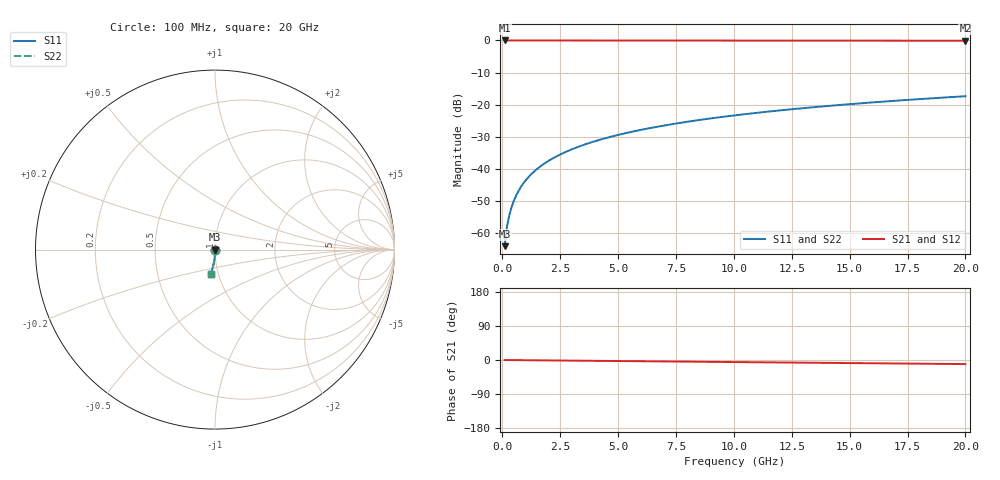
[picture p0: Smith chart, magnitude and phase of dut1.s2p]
! Touchstone file exported from HFSS 2026.1.0
!  File:  C:/ffzhzh/LocalFiles/Ansys_Project_Files/temp_val_TSV_1_1782974622_45308.aedt
!  Generated:  02:44:59 PM Jul  2, 2026
!  Design:  TSV
!  Project:  temp_val_TSV_1_1782974622_45308
! Variables:
!  h_bsmrdl = 2um
!  h_ox = 20um
!  h_rdl = 5um
!  h_sub = 80.28um
!  h_tmrdl = 5um
!  h_tsv = 80.28um
!  h_via = 3um
!  l_bsmrdl = 300um
!  l_sub = 426.04um
!  l_tmrdl = 200um
!  m_sub = 200um
!  pitch = 29.66um
!  r_tsv = 13.02um
!  s_tmrdl = 10um
!  w_bsmrdl = 18um
!  w_sub = 500um
!  w_tmrdl = 12um
!  x_tsv_center1 = 206um
!  x_tsv_center2 = 524um
!  x_tsv_center3 = 736um
!  x_tsv_center4 = 1054um
!  x_tsv_center5 = 1266um
!  x_tsv_center6 = 1584um
# GHz S MA R 50.000000
! Terminal data exported
! Port[1] = TSV1_1_T1
! Port[2] = TSV1_1_T2
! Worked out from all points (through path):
!   200 points, 100 MHz to 20 GHz, reference 50 ohm
!   highest |S21| = 0.00 dB at 100 MHz (marker M1); lowest = -0.1 dB at 20 GHz (marker M2)
!   group delay of S21, straight-line fit = 1.49 ps
!   lowest |S11| = -64.0 dB at 100 MHz (marker M3), VSWR 1.00, Z = 50 - j0.0622 ohm
!   |S11| at or under -10 dB: start of sweep to end of sweep
!   |S22| runs from -64.0 to -17.4 dB; largest |S21 - S12| = 5.3e-14
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0.1  0.0006303 -80.4  0.9999 -0.1  0.9999 -0.1  0.0006303 -80.4
! Gamma 0 0 0 0
! Port Impedance 50 0 50 0
0.2  0.001256 -84.2  0.9999 -0.1  0.9999 -0.1  0.001256 -84.2
0.3  0.001896 -85.3  0.9998 -0.2  0.9998 -0.2  0.001896 -85.3
0.4  0.002548 -85.8  0.9998 -0.2  0.9998 -0.2  0.002548 -85.8
0.5  0.00321 -86.1  0.9998 -0.3  0.9998 -0.3  0.00321 -86.1
0.7  0.004555 -86.6  0.9997 -0.4  0.9997 -0.4  0.004555 -86.6
0.8  0.005234 -86.9  0.9997 -0.4  0.9997 -0.4  0.005234 -86.9
1  0.006596 -87.4  0.9996 -0.6  0.9996 -0.6  0.006596 -87.4
1.2  0.00796 -87.8  0.9996 -0.7  0.9996 -0.7  0.00796 -87.8
1.4  0.009324 -88.1  0.9995 -0.8  0.9995 -0.8  0.009324 -88.1
1.7  0.01137 -88.6  0.9995 -0.9  0.9995 -0.9  0.01137 -88.6
2  0.01342 -89.0  0.9994 -1.1  0.9994 -1.1  0.01342 -89.0
2.7  0.01819 -89.7  0.9993 -1.5  0.9993 -1.5  0.01819 -89.7
3.5  0.02364 -90.4  0.9991 -1.9  0.9991 -1.9  0.02364 -90.4
4.2  0.02842 -90.9  0.9989 -2.3  0.9989 -2.3  0.02842 -90.9
5  0.03389 -91.4  0.9987 -2.7  0.9987 -2.7  0.03389 -91.4
6.8  0.04621 -92.6  0.998 -3.7  0.998 -3.7  0.04621 -92.6
8.3  0.05647 -93.5  0.9974 -4.5  0.9974 -4.5  0.05647 -93.5
10.1  0.06877 -94.5  0.9965 -5.5  0.9965 -5.5  0.06877 -94.5
13.4  0.09121 -96.4  0.9945 -7.3  0.9945 -7.3  0.09121 -96.4
16.7  0.1135 -98.3  0.9921 -9.0  0.9921 -9.0  0.1135 -98.3
20  0.1356 -100.1  0.9891 -10.8  0.9891 -10.8  0.1356 -100.1
